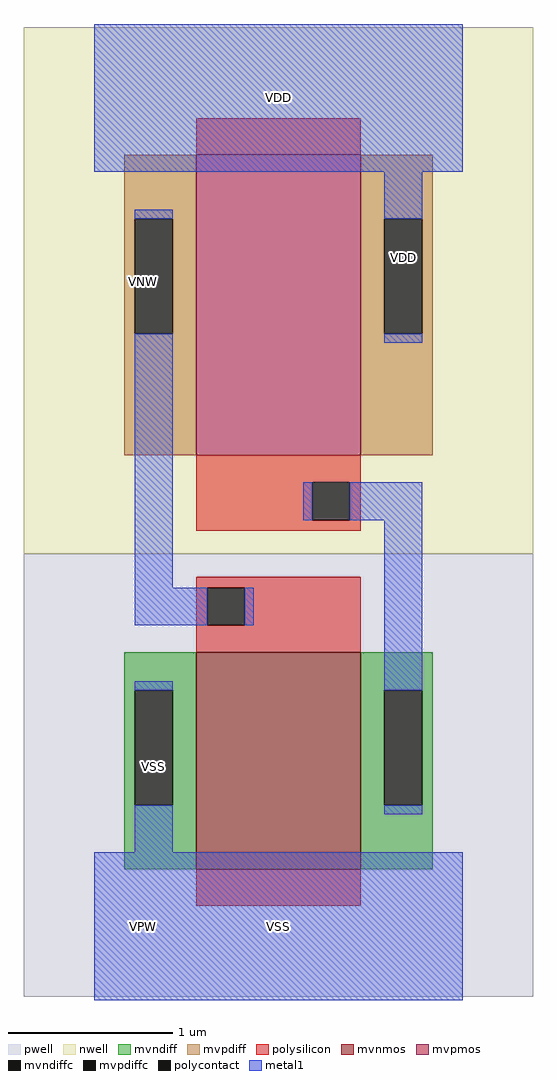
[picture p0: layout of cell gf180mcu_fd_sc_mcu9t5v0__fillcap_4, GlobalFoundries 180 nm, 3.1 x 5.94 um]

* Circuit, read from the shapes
.subckt gf180mcu_fd_sc_mcu9t5v0__fillcap_4 VDD VNW VPW VSS
XM1 n1 n2 VSS VPW nfet_06v0 w=1.32u l=1u
XM2 VDD n1 n2 VNW pfet_06v0 w=1.83u l=1u
.ends

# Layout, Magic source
magic
tech gf180mcuD
magscale 1 10
<< nwell >>
rect -86 453 534 1094
<< pwell >>
rect -86 -86 534 453
<< mvnmos >>
rect 124 69 324 333
<< mvpmos >>
rect 124 573 324 939
<< mvndiff >>
rect 36 287 124 333
rect 36 147 49 287
rect 95 147 124 287
rect 36 69 124 147
rect 324 287 412 333
rect 324 147 353 287
rect 399 147 412 287
rect 324 69 412 147
<< mvpdiff >>
rect 36 861 124 939
rect 36 721 49 861
rect 95 721 124 861
rect 36 573 124 721
rect 324 861 412 939
rect 324 721 353 861
rect 399 721 412 861
rect 324 573 412 721
<< mvndiffc >>
rect 49 147 95 287
rect 353 147 399 287
<< mvpdiffc >>
rect 49 721 95 861
rect 353 721 399 861
<< polysilicon >>
rect 124 939 324 983
rect 124 540 324 573
rect 124 494 265 540
rect 311 494 324 540
rect 124 481 324 494
rect 124 412 324 425
rect 124 366 137 412
rect 183 366 324 412
rect 124 333 324 366
rect 124 25 324 69
<< polycontact >>
rect 265 494 311 540
rect 137 366 183 412
<< metal1 >>
rect 0 918 448 1098
rect 49 861 95 872
rect 49 412 95 721
rect 353 861 399 918
rect 353 710 399 721
rect 254 494 265 540
rect 311 494 399 540
rect 49 366 137 412
rect 183 366 194 412
rect 49 287 95 298
rect 49 90 95 147
rect 353 287 399 494
rect 353 136 399 147
rect 0 -90 448 90
<< labels >>
flabel metal1 s 0 918 448 1098 0 FreeSans 200 0 0 0 VDD
port 1 nsew power bidirectional abutment
flabel metal1 s 49 90 95 298 0 FreeSans 200 0 0 0 VSS
port 4 nsew ground bidirectional abutment
flabel nwell s 10 734 110 834 0 FreeSans 400 0 0 0 VNW
port 2 nsew power bidirectional
flabel pwell s 10 -50 110 50 0 FreeSans 400 0 0 0 VPW
port 3 nsew ground bidirectional
rlabel metal1 s 353 710 399 918 1 VDD
port 1 nsew power bidirectional abutment
rlabel metal1 s 0 -90 448 90 1 VSS
port 4 nsew ground bidirectional abutment
<< properties >>
string FIXED_BBOX 0 0 448 1008
string GDS_END 775982
string GDS_FILE $PDKPATH/libs.ref/gf180mcu_fd_sc_mcu9t5v0/gds/gf180mcu_fd_sc_mcu9t5v0.gds
string GDS_START 773700
string LEFclass core SPACER
string LEFsite GF018hv5v_green_sc9
string LEFsymmetry X Y
<< end >>
